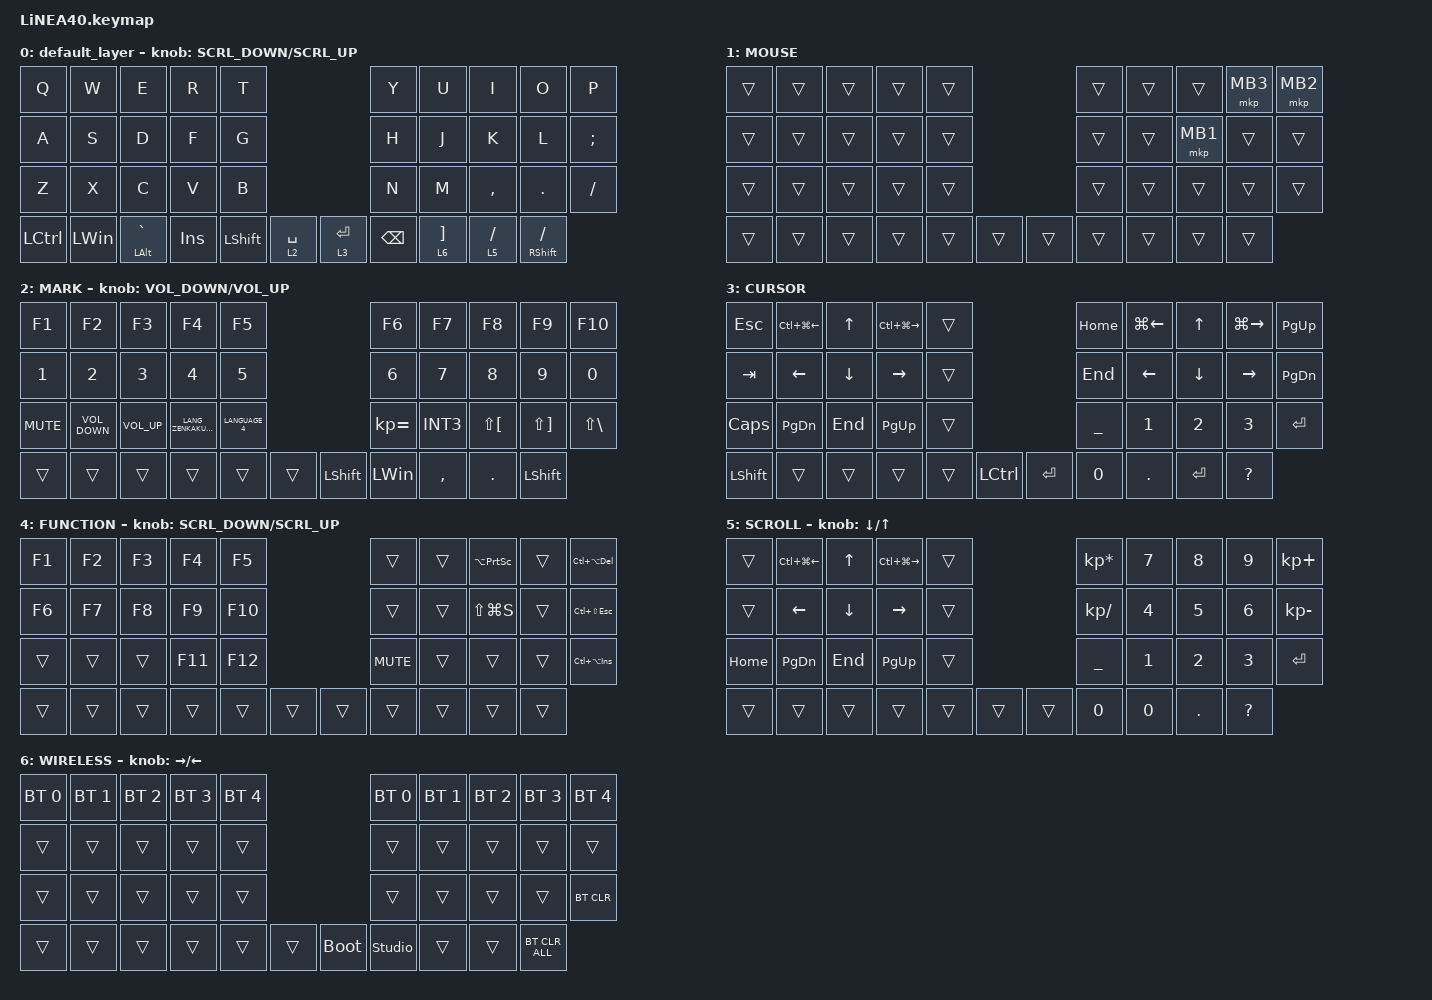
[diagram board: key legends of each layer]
#define ZMK_POINTING_DEFAULT_SCRL_VAL 150

#include <dt-bindings/zmk/input_transform.h>
#include <input/processors.dtsi>
#include <zephyr/dt-bindings/input/input-event-codes.h>
#include <behaviors.dtsi>
#include <dt-bindings/zmk/bt.h>
#include <dt-bindings/zmk/keys.h>
#include <dt-bindings/zmk/pointing.h>

#define MOUSE 1
#define MARK 2
#define CURSOR 3
#define FUNCTION 4
#define SCROLL 5
#define WIRELESS 6

//mouse cursol

&mmv {
    delay-ms = <20>;
    trigger-period-ms = <5>;
    time-to-max-speed-ms = <100>;
    acceleration-exponent = <2>;
};

//mouse scroll

&msc {
    delay-ms = <3>;
    trigger-period-ms = <3>;
    time-to-max-speed-ms = <100>;
    acceleration-exponent = <0>;
};

/ {
    input_processors {
        zip_wheel_scaler: zip_wheel_scaler {
            compatible = "zmk,input-processor-scaler";
            #input-processor-cells = <2>;
            type = <INPUT_EV_REL>;
            codes = <INPUT_REL_WHEEL>;
            track-remainders;
        };
    };
};

&msc_input_listener {
    speed_up {
        layers = <FUNCTION>;
        input-processors = <&zip_wheel_scaler 3 1>; //スクロールを3倍速にする
    };
};

&trackball_listener {
    scroller {
        layers = <SCROLL>;
        input-processors =
            <&zip_xy_transform INPUT_TRANSFORM_Y_INVERT>,
            //スクロール方向を逆転,,,,,,
            <&zip_xy_to_scroll_mapper>;
    };
};

/ {
    combos {
        compatible = "zmk,combos";

        ZenkakuHankaku {
            bindings = <&kp GRAVE>;
            key-positions = <11 12>;
        };

        DeleteKey {
            bindings = <&kp DEL>;
            key-positions = <7 8>;
        };

        InsertKey {
            bindings = <&kp INS>;
            key-positions = <6 7>;
        };

        CenterClick {
            bindings = <&mkp MB3>;
            key-positions = <17 16>;
        };

        RightClick {
            bindings = <&mkp MB2>;
            key-positions = <18 17>;
        };

        PrevClick {
            bindings = <&mkp MB4>;
            key-positions = <27 28>;
        };

        ClickNext {
            bindings = <&mkp MB5>;
            key-positions = <26 27>;
        };
    };

    behaviors {
        re_kp: sensor_rotate_kp {
            compatible = "zmk,behavior-sensor-rotate-var";
            #sensor-binding-cells = <2>;
            bindings = <&kp>, <&kp>;
        };

        mouse_scrl: mouse_wheel_scrl {
            compatible = "zmk,behavior-sensor-rotate-var";
            #sensor-binding-cells = <2>;
            bindings = <&msc>, <&msc>;

            tap-ms = <20>;
        };
    };

    keymap {
        compatible = "zmk,keymap";

        default_layer {
            bindings = <
&kp Q      &kp W         &kp E               &kp R    &kp T                                       &kp Y          &kp U  &kp I                &kp O        &kp P
&kp A      &kp S         &kp D               &kp F    &kp G                                       &kp H          &kp J  &kp K                &kp L        &kp SEMICOLON
&kp Z      &kp X         &kp C               &kp V    &kp B                                       &kp N          &kp M  &kp COMMA            &kp DOT      &kp SLASH
&kp LCTRL  &kp LEFT_WIN  &mt LEFT_ALT GRAVE  &kp INS  &kp LEFT_SHIFT  &lt 2 SPACE    &lt 3 ENTER  &kp BACKSPACE         &lt 6 RIGHT_BRACKET  &lt 5 SLASH  &mt RIGHT_SHIFT SLASH
            >;

            sensor-bindings = <&mouse_scrl SCRL_DOWN SCRL_UP>;
        };

        //1

        MOUSE {
            bindings = <
&trans  &trans  &trans  &trans  &trans                    &trans  &trans  &trans    &mkp MB3  &mkp MB2
&trans  &trans  &trans  &trans  &trans                    &trans  &trans  &mkp MB1  &trans    &trans
&trans  &trans  &trans  &trans  &trans                    &trans  &trans  &trans    &trans    &trans
&trans  &trans  &trans  &trans  &trans  &trans    &trans  &trans          &trans    &trans    &trans
            >;
        };

        //2

        MARK {
            bindings = <
&kp F1        &kp F2             &kp F3           &kp F4                   &kp F5                                    &kp F6        &kp F7        &kp F8                &kp F9                 &kp F10
&kp NUMBER_1  &kp NUMBER_2       &kp NUMBER_3     &kp NUMBER_4             &kp NUMBER_5                              &kp NUMBER_6  &kp NUMBER_7  &kp NUMBER_8          &kp NUMBER_9           &kp NUMBER_0
&kp C_MUTE    &kp C_VOLUME_DOWN  &kp C_VOLUME_UP  &kp LANG_ZENKAKUHANKAKU  &kp LANGUAGE_4                            &kp KP_EQUAL  &kp INT3      &kp LS(LEFT_BRACKET)  &kp LS(RIGHT_BRACKET)  &kp LS(BACKSLASH)
&trans        &trans             &trans           &trans                   &trans          &trans    &kp LEFT_SHIFT  &kp LEFT_WIN                &kp COMMA             &kp PERIOD             &kp LEFT_SHIFT
            >;

            sensor-bindings = <&re_kp C_VOLUME_DOWN C_VOLUME_UP>;
        };

        //3

        CURSOR {
            bindings = <
&kp ESC         &kp LC(LG(LEFT_ARROW))  &kp UP_ARROW  &kp LC(LG(RIGHT_ARROW))  &trans                          &kp HOME      &kp LG(LEFT)  &kp UP_ARROW  &kp LG(RIGHT)  &kp PAGE_UP
&kp TAB         &kp LEFT_ARROW          &kp DOWN      &kp RIGHT_ARROW          &trans                          &kp END       &kp LEFT      &kp DOWN      &kp RIGHT      &kp PAGE_DOWN
&kp CAPS        &kp PAGE_DOWN           &kp END       &kp PAGE_UP              &trans                          &kp UNDER     &kp NUMBER_1  &kp NUMBER_2  &kp NUMBER_3   &kp ENTER
&kp LEFT_SHIFT  &trans                  &trans        &trans                   &trans  &kp LCTRL    &kp ENTER  &kp NUMBER_0                &kp DOT       &kp ENTER      &kp QUESTION
            >;
        };

        //4

        FUNCTION {
            bindings = <
&kp F1  &kp F2  &kp F3  &kp F4   &kp F5                     &trans      &trans  &kp LA(PRINTSCREEN)  &trans  &kp LC(LA(DELETE))
&kp F6  &kp F7  &kp F8  &kp F9   &kp F10                    &trans      &trans  &kp LS(LG(S))        &trans  &kp LC(LS(ESCAPE))
&trans  &trans  &trans  &kp F11  &kp F12                    &kp C_MUTE  &trans  &trans               &trans  &kp LC(LA(INS))
&trans  &trans  &trans  &trans   &trans   &trans    &trans  &trans              &trans               &trans  &trans
            >;

            sensor-bindings = <&mouse_scrl SCRL_DOWN SCRL_UP>;
        };

        //5

        SCROLL {
            bindings = <
&trans    &kp LC(LG(LEFT_ARROW))  &kp UP_ARROW  &kp LC(LG(RIGHT_ARROW))  &trans                    &kp KP_MULTIPLY  &kp NUMBER_7  &kp NUMBER_8  &kp NUMBER_9  &kp KP_PLUS
&trans    &kp LEFT_ARROW          &kp DOWN      &kp RIGHT_ARROW          &trans                    &kp KP_SLASH     &kp NUMBER_4  &kp NUMBER_5  &kp NUMBER_6  &kp KP_MINUS
&kp HOME  &kp PAGE_DOWN           &kp END       &kp PAGE_UP              &trans                    &kp UNDER        &kp NUMBER_1  &kp NUMBER_2  &kp NUMBER_3  &kp ENTER
&trans    &trans                  &trans        &trans                   &trans  &trans    &trans  &kp NUMBER_0                   &kp NUMBER_0  &kp DOT       &kp QUESTION
            >;

            sensor-bindings = <&inc_dec_kp DOWN_ARROW UP_ARROW>;
        };

        //6

        WIRELESS {
            bindings = <
&bt BT_SEL 0  &bt BT_SEL 1  &bt BT_SEL 2  &bt BT_SEL 3  &bt BT_SEL 4                         &bt BT_SEL 0    &bt BT_SEL 1  &bt BT_SEL 2  &bt BT_SEL 3  &bt BT_SEL 4
&trans        &trans        &trans        &trans        &trans                               &trans          &trans        &trans        &trans        &trans
&trans        &trans        &trans        &trans        &trans                               &trans          &trans        &trans        &trans        &bt BT_CLR
&trans        &trans        &trans        &trans        &trans        &trans    &bootloader  &studio_unlock                &trans        &trans        &bt BT_CLR_ALL
            >;

            sensor-bindings = <&inc_dec_kp RIGHT_ARROW LEFT_ARROW>;
        };
    };
};
